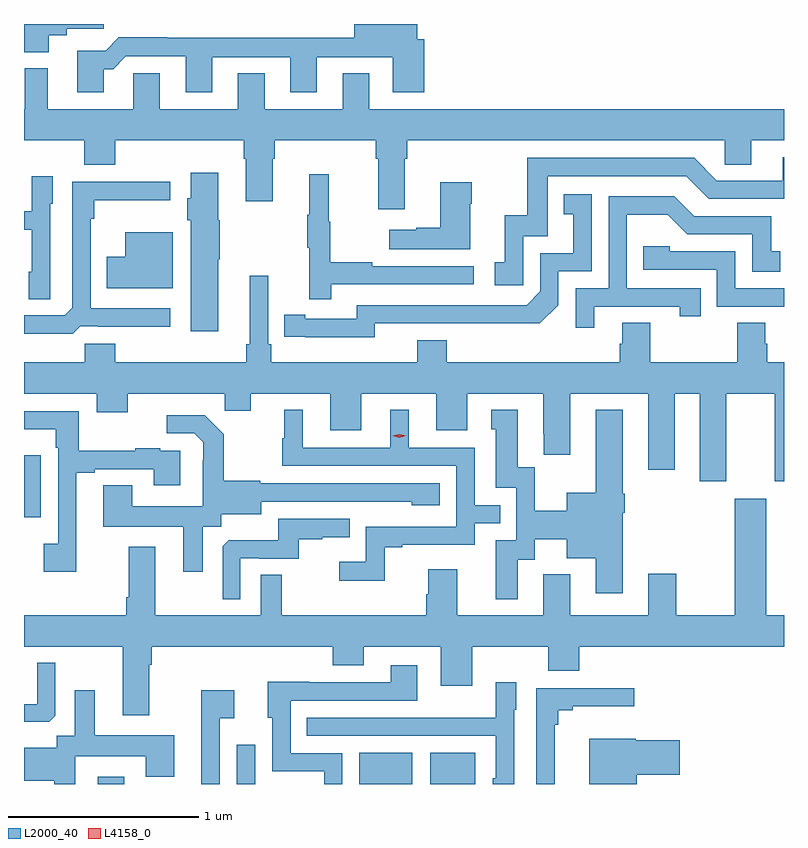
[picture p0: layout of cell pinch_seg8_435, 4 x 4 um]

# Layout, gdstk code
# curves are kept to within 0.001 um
import gdstk
lib = gdstk.Library(unit=1e-6, precision=1e-09)
def R(c, l, rs):  # rectangles x0, y0, x1, y1
    for r in rs: c.add(gdstk.rectangle(r[:2], r[2:], *l))
def P(c, l, *ps):  # polygons
    for p in ps: c.add(gdstk.Polygon(p, *l))
L2000_40 = (2000, 40)
L4158_0 = (4158, 0)

pinch_seg8_435 = lib.new_cell('pinch_seg8_435')
R(pinch_seg8_435, L2000_40, [(316.943,1135.757,317.083,1135.795), (317.676,1135.757,317.772,1135.963), (318.32,1135.757,318.598,1135.921), (318.692,1135.757,318.931,1135.921), (316.555,1137.162,316.644,1137.487)])
P(pinch_seg8_435, L2000_40, [(316.684,1139.699),(316.78,1139.699),(316.78,1139.731),(316.975,1139.731),(316.975,1139.757),(316.555,1139.757),(316.555,1139.609),(316.684,1139.609)],
  [(316.975,1139.519),(317.024,1139.519),(317.091,1139.586),(317.405,1139.586),(317.405,1139.397),(317.545,1139.397),(317.545,1139.583),(317.957,1139.583),(317.957,1139.397),(318.097,1139.397),(318.097,1139.583),(318.497,1139.583),(318.497,1139.397),(318.662,1139.397),(318.662,1139.676),(318.625,1139.676),(318.625,1139.757),(318.293,1139.757),(318.293,1139.684),(317.309,1139.684),(317.309,1139.687),(317.054,1139.687),(316.984,1139.617),(316.835,1139.617),(316.835,1139.397),(316.975,1139.397)],
  [(316.56,1139.524),(316.56,1139.308),(316.555,1139.308),(316.555,1139.144),(316.871,1139.144),(316.871,1139.016),(317.035,1139.016),(317.035,1139.144),(317.711,1139.144),(317.711,1139.048),(317.723,1139.048),(317.723,1138.824),(317.863,1138.824),(317.863,1139.048),(317.876,1139.048),(317.876,1139.144),(318.407,1139.144),(318.407,1139.048),(318.419,1139.048),(318.419,1138.782),(318.559,1138.782),(318.559,1139.048),(318.572,1139.048),(318.572,1139.144),(320.244,1139.144),(320.244,1139.017),(320.383,1139.017),(320.383,1139.144),(320.555,1139.144),(320.555,1139.308),(318.373,1139.308),(318.373,1139.498),(318.233,1139.498),(318.233,1139.308),(317.821,1139.308),(317.821,1139.498),(317.681,1139.498),(317.681,1139.308),(317.269,1139.308),(317.269,1139.498),(317.13,1139.498),(317.13,1139.308),(316.681,1139.308),(316.681,1139.524)],
  [(319.182,1138.641),(319.311,1138.641),(319.311,1138.956),(320.04,1138.956),(320.16,1138.836),(320.555,1138.836),(320.555,1139.055),(320.549,1139.055),(320.549,1138.932),(320.202,1138.932),(320.082,1139.052),(319.203,1139.052),(319.203,1138.75),(319.085,1138.75),(319.085,1138.503),(319.032,1138.503),(319.032,1138.383),(319.182,1138.383)],
  [(317.578,1138.519),(317.586,1138.519),(317.586,1138.725),(317.578,1138.725),(317.578,1138.975),(317.432,1138.975),(317.432,1138.839),(317.414,1138.839),(317.414,1138.725),(317.432,1138.725),(317.432,1138.14),(317.578,1138.14)],
  [(318.173,1138.386),(318.922,1138.386),(318.922,1138.482),(318.389,1138.482),(318.389,1138.502),(318.166,1138.502),(318.166,1138.716),(318.158,1138.716),(318.158,1138.966),(318.056,1138.966),(318.056,1138.753),(318.045,1138.753),(318.045,1138.579),(318.056,1138.579),(318.056,1138.308),(318.173,1138.308)],
  [(316.692,1138.812),(316.705,1138.812),(316.705,1138.957),(316.596,1138.957),(316.596,1138.771),(316.555,1138.771),(316.555,1138.674),(316.596,1138.674),(316.596,1138.452),(316.58,1138.452),(316.58,1138.309),(316.692,1138.309)],
  [(316.851,1138.167),(316.945,1138.167),(316.945,1138.163),(317.326,1138.163),(317.326,1138.26),(316.905,1138.26),(316.905,1138.733),(316.925,1138.733),(316.925,1138.829),(317.326,1138.829),(317.326,1138.926),(316.809,1138.926),(316.809,1138.263),(316.77,1138.224),(316.555,1138.224),(316.555,1138.128),(316.811,1138.128)],
  [(318.904,1138.811),(318.912,1138.811),(318.912,1138.924),(318.746,1138.924),(318.746,1138.685),(318.62,1138.685),(318.62,1138.675),(318.477,1138.675),(318.477,1138.571),(318.904,1138.571)],
  [(318.402,1138.182),(319.27,1138.181),(319.368,1138.278),(319.368,1138.455),(319.542,1138.455),(319.542,1138.861),(319.396,1138.861),(319.396,1138.755),(319.445,1138.755),(319.445,1138.551),(319.272,1138.551),(319.272,1138.35),(319.2,1138.278),(318.306,1138.278),(318.306,1138.206),(318.034,1138.206),(318.034,1138.226),(317.926,1138.226),(317.926,1138.11),(318.402,1138.109)],
  [(319.555,1138.269),(320.006,1138.269),(320.006,1138.218),(320.117,1138.218),(320.117,1138.365),(319.728,1138.365),(319.728,1138.754),(319.942,1138.754),(320.046,1138.65),(320.388,1138.65),(320.388,1138.452),(320.536,1138.452),(320.536,1138.561),(320.487,1138.561),(320.487,1138.746),(320.083,1138.746),(319.978,1138.851),(319.632,1138.851),(319.632,1138.365),(319.458,1138.365),(319.458,1138.158),(319.555,1138.158)],
  [(317.338,1138.66),(317.087,1138.66),(317.087,1138.533),(316.99,1138.533),(316.99,1138.367),(317.338,1138.367)],
  [(320.555,1138.365),(320.298,1138.365),(320.298,1138.56),(319.953,1138.56),(319.953,1138.587),(319.813,1138.587),(319.813,1138.464),(320.202,1138.464),(320.202,1138.269),(320.555,1138.269)],
  [(319.851,1138.184),(319.703,1138.184),(319.703,1138.074),(319.691,1138.074),(319.691,1137.976),(318.779,1137.976),(318.779,1138.093),(318.626,1138.093),(318.626,1137.976),(317.855,1137.976),(317.855,1138.072),(317.841,1138.072),(317.841,1138.432),(317.744,1138.432),(317.744,1138.072),(317.725,1138.072),(317.725,1137.976),(317.036,1137.976),(317.036,1138.074),(316.876,1138.074),(316.876,1137.976),(316.555,1137.976),(316.555,1137.812),(316.937,1137.812),(316.937,1137.713),(317.101,1137.713),(317.101,1137.812),(317.611,1137.812),(317.611,1137.722),(317.749,1137.722),(317.749,1137.812),(318.167,1137.812),(318.167,1137.618),(318.331,1137.618),(318.331,1137.812),(318.725,1137.812),(318.725,1137.618),(318.889,1137.618),(318.889,1137.812),(319.289,1137.812),(319.289,1137.601),(319.29,1137.601),(319.29,1137.489),(319.429,1137.489),(319.429,1137.812),(319.841,1137.812),(319.841,1137.411),(319.981,1137.411),(319.981,1137.812),(320.111,1137.812),(320.111,1137.351),(320.251,1137.351),(320.251,1137.812),(320.507,1137.812),(320.507,1137.351),(320.555,1137.351),(320.555,1137.976),(320.468,1137.976),(320.468,1138.074),(320.455,1138.074),(320.455,1138.184),(320.308,1138.184),(320.308,1137.976),(319.851,1137.976)],
  [(319.153,1136.938),(319.243,1136.938),(319.243,1137.044),(319.412,1137.044),(319.412,1136.945),(319.565,1136.945),(319.565,1136.76),(319.705,1136.76),(319.705,1137.185),(319.718,1137.185),(319.718,1137.285),(319.705,1137.285),(319.705,1137.727),(319.565,1137.727),(319.565,1137.289),(319.412,1137.289),(319.412,1137.196),(319.242,1137.196),(319.242,1137.423),(319.153,1137.423),(319.153,1137.727),(319.013,1137.727),(319.013,1137.624),(319.037,1137.624),(319.037,1137.315),(319.146,1137.315),(319.146,1137.039),(319.037,1137.039),(319.037,1136.73),(319.153,1136.73)],
  [(318.453,1137.003),(318.547,1137.003),(318.547,1137.015),(318.927,1137.015),(318.927,1137.129),(319.061,1137.129),(319.061,1137.225),(318.927,1137.225),(318.927,1137.528),(318.58,1137.528),(318.58,1137.727),(318.482,1137.727),(318.482,1137.528),(318.022,1137.528),(318.022,1137.727),(317.924,1137.727),(317.924,1137.576),(317.913,1137.576),(317.913,1137.432),(318.831,1137.432),(318.831,1137.111),(318.354,1137.111),(318.354,1136.926),(318.213,1136.926),(318.213,1136.828),(318.453,1136.828)],
  [(316.831,1137.396),(316.927,1137.396),(316.927,1137.414),(317.237,1137.414),(317.237,1137.33),(317.377,1137.33),(317.377,1137.51),(317.273,1137.51),(317.273,1137.523),(317.141,1137.523),(317.141,1137.512),(316.843,1137.512),(316.843,1137.72),(316.555,1137.72),(316.555,1137.623),(316.722,1137.623),(316.722,1137.527),(316.734,1137.527),(316.734,1137.022),(316.659,1137.022),(316.659,1136.874),(316.831,1136.874)],
  [(317.497,1137.112),(317.592,1137.112),(317.592,1137.176),(317.803,1137.176),(317.803,1137.243),(318.597,1137.242),(318.597,1137.224),(318.742,1137.224),(318.742,1137.339),(317.799,1137.339),(317.799,1137.352),(317.607,1137.352),(317.607,1137.597),(317.507,1137.697),(317.307,1137.697),(317.307,1137.603),(317.451,1137.603),(317.498,1137.556),(317.498,1137.461),(317.496,1137.461),(317.496,1137.22),(317.125,1137.22),(317.125,1137.329),(316.973,1137.329),(316.973,1137.11),(317.393,1137.11),(317.393,1136.874),(317.497,1136.874)],
  [(317.215,1136.384),(317.228,1136.384),(317.228,1136.48),(318.179,1136.48),(318.179,1136.381),(318.343,1136.381),(318.343,1136.48),(318.749,1136.48),(318.749,1136.274),(318.913,1136.274),(318.913,1136.48),(319.313,1136.48),(319.313,1136.352),(319.477,1136.352),(319.477,1136.48),(320.555,1136.48),(320.555,1136.644),(320.461,1136.644),(320.461,1137.259),(320.297,1137.259),(320.297,1136.644),(319.989,1136.644),(319.989,1136.863),(319.841,1136.863),(319.841,1136.644),(319.429,1136.644),(319.429,1136.86),(319.289,1136.86),(319.289,1136.644),(318.835,1136.644),(318.835,1136.887),(318.683,1136.887),(318.683,1136.757),(318.671,1136.757),(318.671,1136.644),(317.911,1136.644),(317.911,1136.858),(317.802,1136.858),(317.802,1136.644),(317.245,1136.644),(317.245,1137.007),(317.105,1137.007),(317.105,1136.74),(317.093,1136.74),(317.093,1136.644),(316.555,1136.644),(316.555,1136.48),(317.075,1136.48),(317.075,1136.118),(317.215,1136.118)],
  [(317.694,1136.946),(317.794,1136.946),(317.794,1136.943),(318.002,1136.943),(318.002,1137.045),(318.125,1137.045),(318.125,1137.056),(318.269,1137.056),(318.269,1137.153),(317.892,1137.153),(317.892,1137.041),(317.633,1137.041),(317.601,1137.009),(317.601,1136.729),(317.694,1136.729)],
  [(316.719,1136.115),(316.719,1136.395),(316.626,1136.395),(316.626,1136.178),(316.555,1136.178),(316.555,1136.084),(316.687,1136.084)],
  [(318.231,1135.92),(317.958,1135.92),(317.958,1136.196),(318.625,1136.196),(318.625,1136.383),(318.485,1136.383),(318.485,1136.292),(318.055,1136.292),(318.055,1136.294),(317.837,1136.294),(317.837,1136.106),(317.862,1136.106),(317.862,1135.824),(318.135,1135.824),(318.135,1135.757),(318.231,1135.757)],
  [(319.134,1136.148),(319.147,1136.148),(319.147,1136.293),(319.038,1136.293),(319.038,1136.107),(318.721,1136.107),(318.721,1136.106),(318.043,1136.106),(318.043,1136.01),(319.038,1136.01),(319.038,1135.788),(319.022,1135.788),(319.022,1135.757),(319.134,1135.757)],
  [(319.349,1136.069),(319.367,1136.069),(319.367,1136.146),(319.444,1136.146),(319.444,1136.165),(319.768,1136.165),(319.768,1136.262),(319.251,1136.262),(319.251,1135.757),(319.349,1135.757)],
  [(316.824,1135.904),(317.195,1135.904),(317.195,1135.795),(317.347,1135.795),(317.347,1136.014),(316.927,1136.014),(316.927,1136.251),(316.823,1136.251),(316.823,1136.012),(316.728,1136.012),(316.728,1135.948),(316.555,1135.948),(316.555,1135.773),(316.713,1135.773),(316.713,1135.757),(316.824,1135.757)],
  [(317.586,1136.102),(317.662,1136.102),(317.662,1136.251),(317.489,1136.251),(317.489,1135.757),(317.586,1135.757)],
  [(319.78,1135.805),(320.005,1135.805),(320.005,1135.988),(319.776,1135.988),(319.776,1135.996),(319.529,1135.996),(319.529,1135.757),(319.78,1135.757)])
P(pinch_seg8_435, L4158_0, [(318.531,1137.579),(318.495,1137.589),(318.495,1137.589),(318.495,1137.59),(318.531,1137.599),(318.567,1137.59),(318.567,1137.589),(318.567,1137.589)])

lib.write_gds('pinch_seg8_435.gds')
